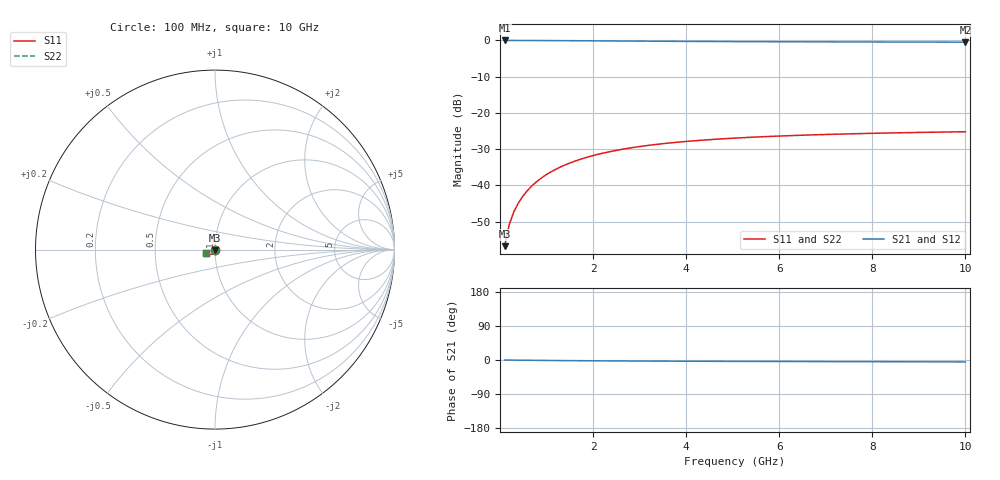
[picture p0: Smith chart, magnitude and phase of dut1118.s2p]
! Touchstone file exported from HFSS 2024.1.0
!  File:  C:/UserFiles/LocalFiles/RDL_TSV_Batchsim/temp_TSV1_1118_1780068895.aedt
!  Generated:  11:40:09 PM May 29, 2026
!  Design:  TSV1
!  Project:  temp_TSV1_1118_1780068895
!  Setup:  Setup1
!  Solution:  Sweep
! Variables:
!  dtsv = 11.72um
!  hbump = 3um
!  htsv = 78.15um
!  lrdl = 252.1521522um
!  p = 40
!  p1 = 43.27um
!  t = 500um
!  trdl = 3um
!  wrdl = 24.89489489um
# GHz S MA R 50.000000
! Terminal data exported
! Port[1] = TSV22_T1
! Port[2] = TSV22_T2
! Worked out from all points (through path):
!   100 points, 100 MHz to 10 GHz, reference 50 ohm
!   highest |S21| = 0.00 dB at 100 MHz (marker M1); lowest = -0.5 dB at 10 GHz (marker M2)
!   lowest |S11| = -56.8 dB at 100 MHz (marker M3), VSWR 1.00, Z = 50 - j0.145 ohm
!   |S11| at or under -10 dB: start of sweep to end of sweep
!   |S22| runs from -56.8 to -25.2 dB; largest |S21 - S12| = 5e-15
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0.1  0.001448 -87.3  0.9998 -0.1  0.9998 -0.1  0.001448 -87.3
! Gamma 0 0 0 0
! Port Impedance 50 0 50 0
0.2  0.002891 -90.7  0.9997 -0.3  0.9997 -0.3  0.002891 -90.7
0.3  0.004335 -92.9  0.9995 -0.4  0.9995 -0.4  0.004335 -92.9
0.4  0.005774 -94.7  0.9992 -0.5  0.9992 -0.5  0.005774 -94.7
0.5  0.007205 -96.4  0.9989 -0.6  0.9989 -0.6  0.007205 -96.4
0.6  0.008622 -98.1  0.9984 -0.7  0.9984 -0.7  0.008622 -98.1
0.7  0.01002 -99.7  0.998 -0.9  0.998 -0.9  0.01002 -99.7
0.8  0.0114 -101.3  0.9974 -1.0  0.9974 -1.0  0.0114 -101.3
0.9  0.01276 -102.8  0.9968 -1.1  0.9968 -1.1  0.01276 -102.8
1.1  0.0154 -105.8  0.9955 -1.3  0.9955 -1.3  0.0154 -105.8
1.4  0.01914 -110.0  0.9931 -1.6  0.9931 -1.6  0.01914 -110.0
1.6  0.02147 -112.7  0.9915 -1.8  0.9915 -1.8  0.02147 -112.7
1.8  0.02368 -115.2  0.9897 -2.0  0.9897 -2.0  0.02368 -115.2
2.1  0.02675 -118.8  0.9869 -2.2  0.9869 -2.2  0.02675 -118.8
2.5  0.0304 -123.2  0.9832 -2.5  0.9832 -2.5  0.0304 -123.2
2.9  0.03358 -127.2  0.9796 -2.7  0.9796 -2.7  0.03358 -127.2
3.4  0.03698 -131.6  0.9754 -3.0  0.9754 -3.0  0.03698 -131.6
4.2  0.04135 -137.6  0.9695 -3.3  0.9695 -3.3  0.04135 -137.6
5.1  0.04508 -143.1  0.964 -3.6  0.964 -3.6  0.04508 -143.1
6.7  0.04969 -150.7  0.9567 -4.1  0.9567 -4.1  0.04969 -150.7
8.4  0.0529 -156.7  0.9513 -4.6  0.9513 -4.6  0.0529 -156.7
10  0.05496 -161.2  0.9477 -5.1  0.9477 -5.1  0.05496 -161.2
